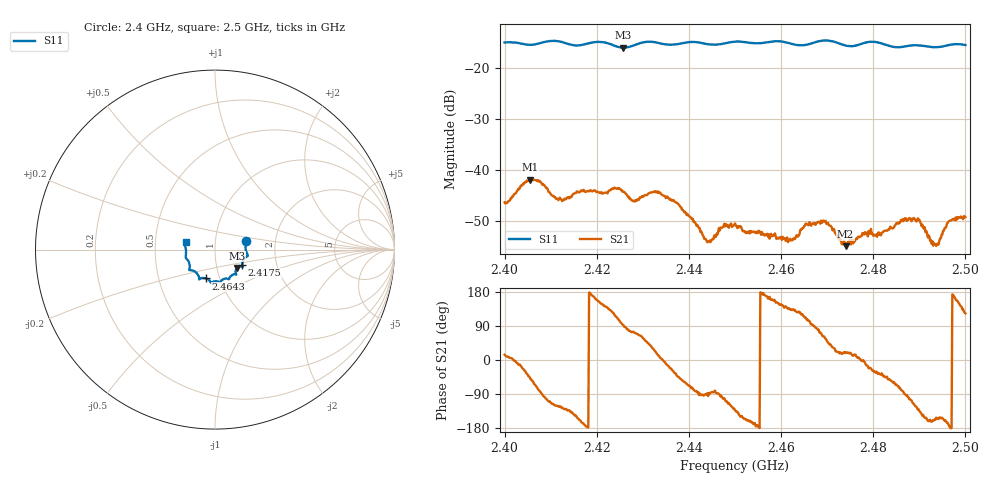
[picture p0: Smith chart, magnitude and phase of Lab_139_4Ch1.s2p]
# Hz S RI R 50
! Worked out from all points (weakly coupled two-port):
!   601 points, 2.4 GHz to 2.5 GHz, reference 50 ohm
!   highest |S21| = -41.92 dB at 2.4055 GHz (marker M1); lowest = -55.1 dB at 2.474 GHz (marker M2)
!   lowest |S11| = -15.9 dB at 2.4257 GHz (marker M3), VSWR 1.38, Z = 62.5 - j13.1 ohm
!   |S11| at or under -10 dB: start of sweep to end of sweep
!   S12 and S22 are empty: the file has one direction only
!   S11 on the Smith chart (normalised r, x): 2.4 GHz: 1.41, +0.14; 2.4175 GHz: 1.34, -0.23; 2.4643 GHz: 0.86, -0.29; 2.5 GHz: 0.72, +0.06
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2.4e9  0.1728 0.0487  0.00464 0.00115  0 0  0 0
2.4055e9  0.1703 0.00824  0.00551 -0.00582  0 0  0 0
2.412167e9  0.1791 -0.0378  -0.00278 -0.00431  0 0  0 0
2.416667e9  0.1529 -0.0741  -0.00604 -0.0017  0 0  0 0
2.4175e9  0.1518 -0.0835  -0.00601 -0.000753  0 0  0 0
2.425667e9  0.1229 -0.1018  -0.000289 0.00604  0 0  0 0
2.428167e9  0.1146 -0.1245  0.00154 0.00472  0 0  0 0
2.433333e9  0.1131 -0.1372  0.00575 0.00133  0 0  0 0
2.437833e9  0.083 -0.153  0.00318 -0.00322  0 0  0 0
2.444167e9  0.0624 -0.1609  -0.000179 -0.00196  0 0  0 0
2.447667e9  0.0366 -0.1718  -0.000558 -0.00288  0 0  0 0
2.45e9  0.0289 -0.181  -0.002 -0.0022  0 0  0 0
2.462e9  -0.03 -0.1731  -0.00142 0.00154  0 0  0 0
2.464333e9  -0.0499 -0.161  -0.00128 0.0022  0 0  0 0
2.466667e9  -0.0759 -0.1593  -0.00018 0.00289  0 0  0 0
2.469667e9  -0.0884 -0.1662  0.00176 0.0026  0 0  0 0
2.474e9  -0.0976 -0.1366  0.00165 0.000632  0 0  0 0
2.483333e9  -0.1409 -0.09  0.00162 -0.002  0 0  0 0
2.4895e9  -0.1631 -0.043  -0.00185 -0.00253  0 0  0 0
2.4935e9  -0.1613 -0.0081  -0.00171 -0.000708  0 0  0 0
2.4965e9  -0.1681 0.0237  -0.00311 -0.000286  0 0  0 0
2.5e9  -0.164 0.0431  -0.00187 0.00287  0 0  0 0
